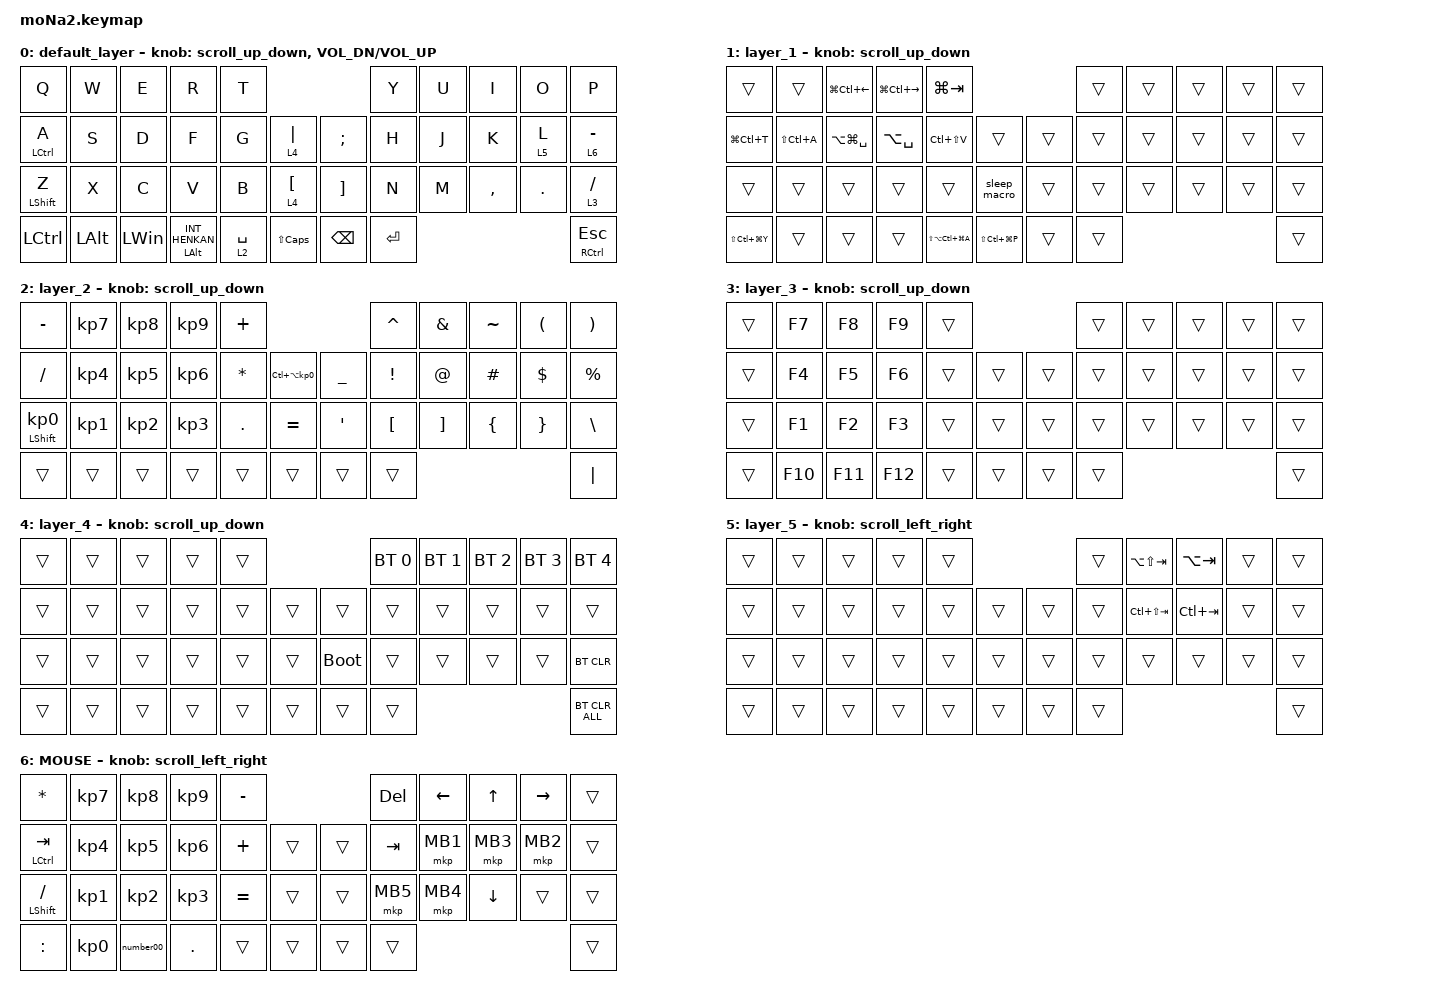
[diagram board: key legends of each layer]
#include <behaviors.dtsi>
#include <dt-bindings/zmk/bt.h>
#include <dt-bindings/zmk/keys.h>
#include <dt-bindings/zmk/pointing.h>

#define ZMK_POINTING_DEFAULT_SCRL_VAL 100
#define MOUSE 6

&mt {
    flavor = "balanced";
    quick-tap-ms = <0>;
};

/ {
    combos {
        compatible = "zmk,combos";

        selectAll {
            bindings = <&kp LC(A)>;
            key-positions = <11 10>;
            layers = <0 6>;
        };

        tab {
            bindings = <&kp TAB>;
            key-positions = <2 1>;
        };

        shift+tab {
            bindings = <&kp LS(TAB)>;
            key-positions = <2 3>;
        };

        Function {
            bindings = <&lt 1 RIGHT_SHIFT>;
            key-positions = <18 19>;
        };

        copy {
            bindings = <&kp LC(C)>;
            key-positions = <12 11>;
        };

        xcopy {
            bindings = <&kp LC(X)>;
            key-positions = <14 13>;
        };

        paste {
            bindings = <&kp LC(V)>;
            key-positions = <12 13>;
        };

        ctrl+z {
            bindings = <&kp LC(Z)>;
            key-positions = <23 22>;
        };

        ctrl+y {
            bindings = <&kp LC(Y)>;
            key-positions = <23 24>;
        };

        win+v {
            bindings = <&kp LG(V)>;
            key-positions = <24 25>;
        };
    };

    macros {
        to_layer_0: to_layer_0 {
            compatible = "zmk,behavior-macro-one-param";
            #binding-cells = <1>;
            bindings = <&to 0 &macro_param_1to1 &kp MACRO_PLACEHOLDER>;
            label = "TO_LAYER_0";
        };

        number00: number00 {
            compatible = "zmk,behavior-macro";
            #binding-cells = <0>;
            bindings = <&kp KP_N0 &kp KP_N0>;
            label = "NUMBER00";
        };

        sleep_macro: sleep_macro {
            compatible = "zmk,behavior-macro";
            #binding-cells = <0>;
            bindings =
                <&kp LG(X)>,
                <&macro_wait_time 20>,
                <&kp U>,
                <&macro_wait_time 20>,
                <&kp S>;

            label = "SLEEP_MACRO";
        };
    };

    behaviors {
        lt_to_layer_0: lt_to_layer_0 {
            compatible = "zmk,behavior-hold-tap";
            label = "LAYER_TAP_TO_0";
            bindings = <&mo>, <&to_layer_0>;

            #binding-cells = <2>;
            tapping-term-ms = <200>;
        };

        scroll_up_down: behavior_sensor_rotate_mouse_wheel_up_down {
            compatible = "zmk,behavior-sensor-rotate";
            #sensor-binding-cells = <0>;
            bindings = <&msc SCRL_UP>, <&msc SCRL_DOWN>;

            tap-ms = <20>;
        };

        scroll_left_right: scroll_left_right {
            compatible = "zmk,behavior-sensor-rotate";
            label = "SCROLL_LEFT_RIGHT";
            #sensor-binding-cells = <0>;
            bindings = <&msc SCRL_LEFT>, <&msc SCRL_RIGHT>;

            tap-ms = <20>;
        };
    };

    keymap {
        compatible = "zmk,keymap";

        default_layer {
            bindings = <
&kp Q             &kp W         &kp E         &kp R                    &kp T                                                 &kp Y      &kp U  &kp I      &kp O    &kp P
&mt LCTRL A       &kp S         &kp D         &kp F                    &kp G        &lt 4 PIPE            &kp SEMI           &kp H      &kp J  &kp K      &lt 5 L  &lt 6 MINUS
&mt LEFT_SHIFT Z  &kp X         &kp C         &kp V                    &kp B        &lt 4 LEFT_BRACKET    &kp RIGHT_BRACKET  &kp N      &kp M  &kp COMMA  &kp DOT  &lt 3 SLASH
&kp LCTRL         &kp LEFT_ALT  &kp LEFT_WIN  &mt LEFT_ALT INT_HENKAN  &lt 2 SPACE  &kp LS(CAPS)          &kp BACKSPACE      &kp ENTER                             &mt RCTRL ESCAPE
            >;

            sensor-bindings =
                <&scroll_up_down>,
                <&inc_dec_kp C_VOL_DN C_VOL_UP>;
        };

        layer_1 {
            bindings = <
&trans             &trans         &kp LG(LC(LEFT_ARROW))  &kp LG(LC(RIGHT_ARROW))  &kp LG(TAB)                                         &trans  &trans  &trans  &trans  &trans
&kp LG(LC(T))      &kp LS(LC(A))  &kp LA(LG(SPACE))       &kp LA(SPACE)            &kp LC(LS(V))          &trans               &trans  &trans  &trans  &trans  &trans  &trans
&trans             &trans         &trans                  &trans                   &trans                 &sleep_macro         &trans  &trans  &trans  &trans  &trans  &trans
&kp LS(LC(LG(Y)))  &trans         &trans                  &trans                   &kp LS(LA(LC(LG(A))))  &kp LS(LC(LG(P)))    &trans  &trans                          &trans
            >;

            sensor-bindings = <&scroll_up_down>;
        };

        layer_2 {
            bindings = <
&kp MINUS                   &kp KP_NUMBER_7  &kp KP_NUMBER_8  &kp KP_NUMBER_9  &kp PLUS                                                   &kp CARET         &kp AMPERSAND      &kp TILDE       &kp LEFT_PARENTHESIS  &kp RIGHT_PARENTHESIS
&kp SLASH                   &kp KP_NUMBER_4  &kp KP_NUMBER_5  &kp KP_NUMBER_6  &kp ASTERISK  &kp LC(LA(KP_NUMBER_0))    &kp UNDERSCORE    &kp EXCLAMATION   &kp AT_SIGN        &kp HASH        &kp DOLLAR            &kp PERCENT
&mt LEFT_SHIFT KP_NUMBER_0  &kp KP_NUMBER_1  &kp KP_NUMBER_2  &kp KP_NUMBER_3  &kp PERIOD    &kp EQUAL                  &kp SINGLE_QUOTE  &kp LEFT_BRACKET  &kp RIGHT_BRACKET  &kp LEFT_BRACE  &kp RIGHT_BRACE       &kp BACKSLASH
&trans                      &trans           &trans           &trans           &trans        &trans                     &trans            &trans                                                                     &kp PIPE
            >;

            sensor-bindings = <&scroll_up_down>;
        };

        layer_3 {
            bindings = <
&trans  &kp F7   &kp F8   &kp F9   &trans                    &trans  &trans  &trans  &trans  &trans
&trans  &kp F4   &kp F5   &kp F6   &trans  &trans    &trans  &trans  &trans  &trans  &trans  &trans
&trans  &kp F1   &kp F2   &kp F3   &trans  &trans    &trans  &trans  &trans  &trans  &trans  &trans
&trans  &kp F10  &kp F11  &kp F12  &trans  &trans    &trans  &trans                          &trans
            >;

            sensor-bindings = <&scroll_up_down>;
        };

        layer_4 {
            bindings = <
&trans  &trans  &trans  &trans  &trans                         &bt BT_SEL 0  &bt BT_SEL 1  &bt BT_SEL 2  &bt BT_SEL 3  &bt BT_SEL 4
&trans  &trans  &trans  &trans  &trans  &trans    &trans       &trans        &trans        &trans        &trans        &trans
&trans  &trans  &trans  &trans  &trans  &trans    &bootloader  &trans        &trans        &trans        &trans        &bt BT_CLR
&trans  &trans  &trans  &trans  &trans  &trans    &trans       &trans                                                  &bt BT_CLR_ALL
            >;

            sensor-bindings = <&scroll_up_down>;
        };

        layer_5 {
            bindings = <
&trans  &trans  &trans  &trans  &trans                    &trans  &kp LA(LS(TAB))  &kp LA(TAB)  &trans  &trans
&trans  &trans  &trans  &trans  &trans  &trans    &trans  &trans  &kp LC(LS(TAB))  &kp LC(TAB)  &trans  &trans
&trans  &trans  &trans  &trans  &trans  &trans    &trans  &trans  &trans           &trans       &trans  &trans
&trans  &trans  &trans  &trans  &trans  &trans    &trans  &trans                                        &trans
            >;

            sensor-bindings = <&scroll_left_right>;
        };

        MOUSE {
            bindings = <
&kp ASTERISK          &kp KP_NUMBER_7  &kp KP_NUMBER_8  &kp KP_NUMBER_9  &kp MINUS                    &kp DEL   &kp LEFT  &kp UP_ARROW  &kp RIGHT  &trans
&mt LCTRL TAB         &kp KP_NUMBER_4  &kp KP_NUMBER_5  &kp KP_NUMBER_6  &kp PLUS   &trans    &trans  &kp TAB   &mkp MB1  &mkp MB3      &mkp MB2   &trans
&mt LEFT_SHIFT SLASH  &kp KP_NUMBER_1  &kp KP_NUMBER_2  &kp KP_NUMBER_3  &kp EQUAL  &trans    &trans  &mkp MB5  &mkp MB4  &kp DOWN      &trans     &trans
&kp COLON             &kp KP_NUMBER_0  &number00        &kp PERIOD       &trans     &trans    &trans  &trans                                       &trans
            >;

            sensor-bindings = <&scroll_left_right>;
        };
    };
};
